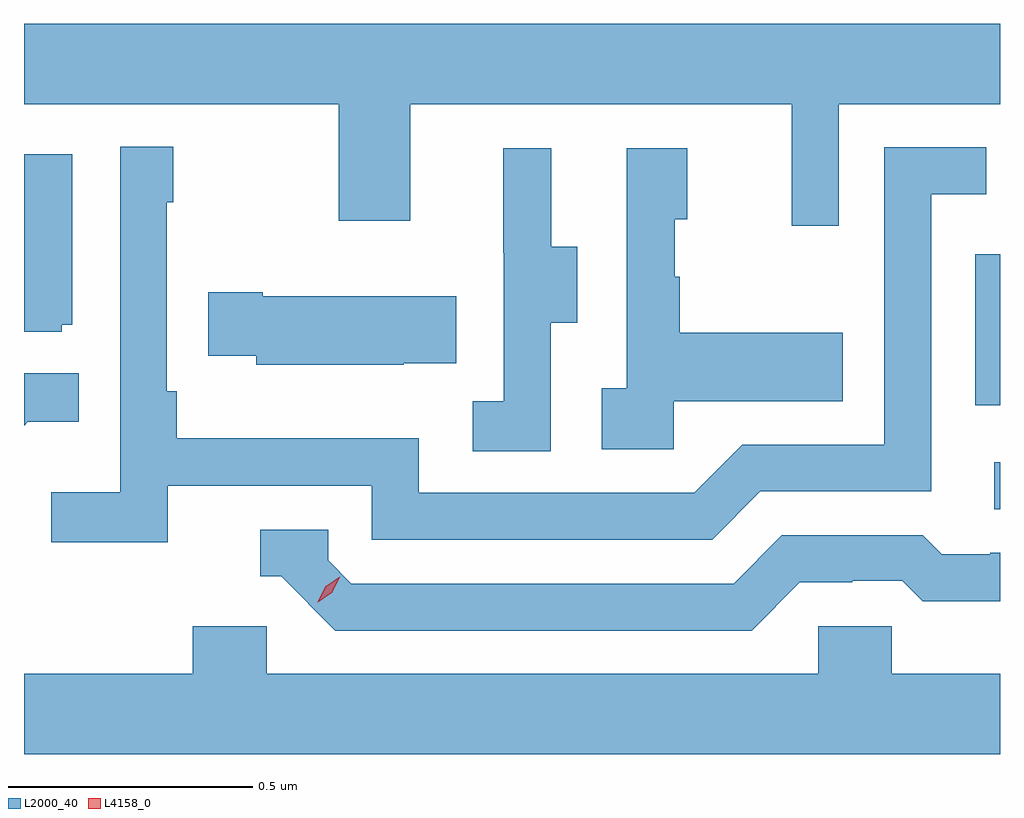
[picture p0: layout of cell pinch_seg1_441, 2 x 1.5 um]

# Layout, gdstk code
import gdstk
lib = gdstk.Library(unit=1e-6, precision=1e-09)
def R(c, l, rs):  # rectangles x0, y0, x1, y1
    for r in rs: c.add(gdstk.rectangle(r[:2], r[2:], *l))
def P(c, l, *ps):  # polygons
    for p in ps: c.add(gdstk.Polygon(p, *l))
L2000_40 = (2000, 40)
L4158_0 = (4158, 0)

pinch_seg1_441 = lib.new_cell('pinch_seg1_441')
R(pinch_seg1_441, L2000_40, [(940.173,520.266,940.185,520.362), (940.134,520.479,940.185,520.788)])
P(pinch_seg1_441, L2000_40, [(939.855,521.096),(940.185,521.096),(940.185,521.26),(938.185,521.26),(938.185,521.096),(938.83,521.096),(938.83,520.857),(938.977,520.857),(938.977,521.096),(939.758,521.096),(939.758,520.847),(939.855,520.847)],
  [(938.48,520.314),(938.898,520.314),(938.898,520.203),(939.595,520.203),(939.694,520.302),(940.044,520.302),(940.044,520.911),(940.157,520.911),(940.157,521.007),(939.948,521.007),(939.948,520.398),(939.657,520.398),(939.558,520.299),(938.994,520.299),(938.994,520.411),(938.498,520.411),(938.498,520.507),(938.478,520.507),(938.478,520.895),(938.491,520.895),(938.491,521.008),(938.382,521.008),(938.382,520.3),(938.241,520.3),(938.241,520.198),(938.48,520.198)],
  [(939.264,520.648),(939.319,520.648),(939.319,520.803),(939.265,520.803),(939.265,521.005),(939.167,521.005),(939.167,520.791),(939.168,520.791),(939.168,520.487),(939.105,520.487),(939.105,520.384),(939.264,520.384)],
  [(939.516,520.487),(939.863,520.487),(939.863,520.627),(939.529,520.627),(939.529,520.742),(939.519,520.742),(939.519,520.86),(939.544,520.86),(939.544,521.005),(939.42,521.005),(939.42,520.514),(939.369,520.514),(939.369,520.389),(939.516,520.389)],
  [(938.262,520.644),(938.284,520.644),(938.284,520.993),(938.185,520.993),(938.185,520.629),(938.262,520.629)],
  [(938.963,520.565),(939.071,520.565),(939.071,520.702),(938.674,520.702),(938.674,520.71),(938.563,520.71),(938.563,520.58),(938.661,520.58),(938.661,520.562),(938.963,520.562)],
  [(938.193,520.445),(938.297,520.445),(938.297,520.544),(938.185,520.544),(938.185,520.437)],
  [(939.775,520.116),(939.882,520.116),(939.882,520.119),(939.985,520.119),(940.027,520.077),(940.185,520.077),(940.185,520.176),(940.165,520.176),(940.165,520.173),(940.066,520.173),(940.027,520.212),(939.738,520.212),(939.639,520.113),(938.856,520.113),(938.808,520.161),(938.808,520.224),(938.669,520.224),(938.669,520.128),(938.712,520.128),(938.823,520.017),(939.676,520.017)],
  [(940.185,519.928),(939.963,519.928),(939.963,520.026),(939.813,520.026),(939.813,519.928),(938.682,519.928),(938.682,520.026),(938.531,520.026),(938.531,519.928),(938.185,519.928),(938.185,519.764),(940.185,519.764)])
P(pinch_seg1_441, L4158_0, [(938.786,520.074),(938.786,520.074),(938.802,520.107),(938.832,520.127),(938.832,520.127),(938.832,520.126),(938.816,520.094),(938.786,520.074)])

lib.write_gds('pinch_seg1_441.gds')
